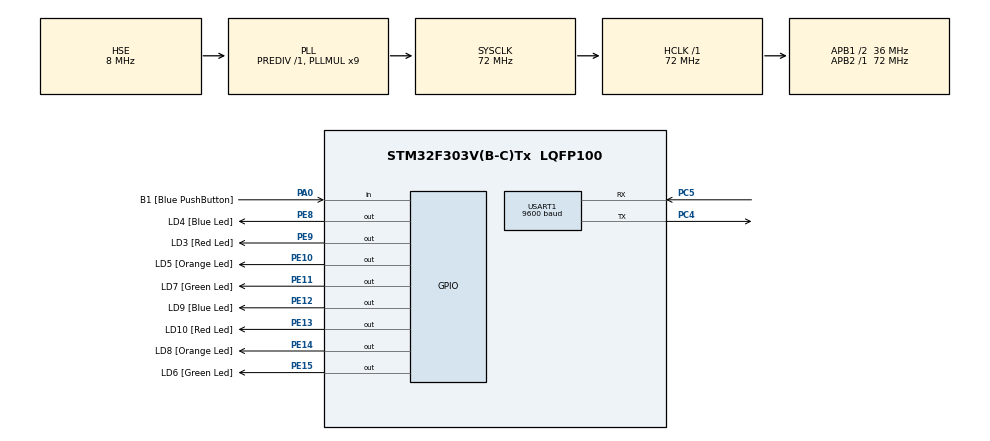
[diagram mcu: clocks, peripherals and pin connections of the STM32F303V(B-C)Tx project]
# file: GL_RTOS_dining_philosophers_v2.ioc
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Dma.Request0=USART1_TX
Dma.USART1_TX.0.Direction=DMA_MEMORY_TO_PERIPH
Dma.USART1_TX.0.Instance=DMA1_Channel4
Dma.USART1_TX.0.MemDataAlignment=DMA_MDATAALIGN_BYTE
Dma.USART1_TX.0.MemInc=DMA_MINC_ENABLE
Dma.USART1_TX.0.Mode=DMA_NORMAL
Dma.USART1_TX.0.PeriphDataAlignment=DMA_PDATAALIGN_BYTE
Dma.USART1_TX.0.PeriphInc=DMA_PINC_DISABLE
Dma.USART1_TX.0.Priority=DMA_PRIORITY_LOW
FREERTOS.BinarySemaphores01=myBinarySem01,Dynamic,NULL;myBinarySem02,Dynamic,NULL;myBinarySem03,Dynamic,NULL;myBinarySem04,Dynamic,NULL;myBinarySem05,Dynamic,NULL
FREERTOS.Tasks01=myTask01,8,64,StartTask01,Default,NULL,Dynamic,NULL,NULL;myTask02,8,64,StartTask02,Default,NULL,Dynamic,NULL,NULL;myTask03,8,64,StartTask03,Default,NULL,Dynamic,NULL,NULL;myTask04,8,64,StartTask04,Default,NULL,Dynamic,NULL,NULL;myTask05,8,64,StartTask05,Default,NULL,Dynamic,NULL,NULL
FREERTOS.configMINIMAL_STACK_SIZE=64
Mcu.Family=STM32F3
Mcu.Name=STM32F303V(B-C)Tx
Mcu.Package=LQFP100
NVIC.DMA1_Channel4_IRQn=true\:5\:0\:false\:false\:true\:true\:false\:true
NVIC.PriorityGroup=NVIC_PRIORITYGROUP_4
NVIC.TIM7_IRQn=true\:0\:0\:false\:false\:true\:false\:false\:true
NVIC.TimeBase=TIM7_IRQn
NVIC.TimeBaseIP=TIM7
NVIC.USART1_IRQn=true\:5\:0\:false\:false\:true\:true\:true\:true
PA0.GPIO_Label=B1 [Blue PushButton]
PA0.Signal=GPIO_Input
PC4.Mode=Asynchronous
PC4.Signal=USART1_TX
PC5.Mode=Asynchronous
PC5.Signal=USART1_RX
PE10.GPIO_Label=LD5 [Orange Led]
PE10.Signal=GPIO_Output
PE11.GPIO_Label=LD7 [Green Led]
PE11.Signal=GPIO_Output
PE12.GPIO_Label=LD9 [Blue Led]
PE12.Signal=GPIO_Output
PE13.GPIO_Label=LD10 [Red Led]
PE13.Signal=GPIO_Output
PE14.GPIO_Label=LD8 [Orange Led]
PE14.Signal=GPIO_Output
PE15.GPIO_Label=LD6 [Green Led]
PE15.Signal=GPIO_Output
PE8.GPIO_Label=LD4 [Blue Led]
PE8.Signal=GPIO_Output
PE9.GPIO_Label=LD3 [Red Led]
PE9.Signal=GPIO_Output
PF0-OSC_IN.Mode=HSE-External-Oscillator
PF0-OSC_IN.Signal=RCC_OSC_IN
PF1-OSC_OUT.Mode=HSE-External-Oscillator
PF1-OSC_OUT.Signal=RCC_OSC_OUT
ProjectManager.HeapSize=0x200
ProjectManager.StackSize=0x400
ProjectManager.TargetToolchain=MDK-ARM V5.27
RCC.AHBFreq_Value=72000000
RCC.APB1CLKDivider=RCC_HCLK_DIV2
RCC.APB1Freq_Value=36000000
RCC.APB1TimFreq_Value=72000000
RCC.APB2Freq_Value=72000000
RCC.APB2TimFreq_Value=72000000
RCC.CortexFreq_Value=72000000
RCC.HCLKFreq_Value=72000000
RCC.HSE_VALUE=8000000
RCC.HSI_VALUE=8000000
RCC.LSE_VALUE=32768
RCC.PLLMUL=RCC_PLL_MUL9
RCC.PLLSourceVirtual=RCC_PLLSOURCE_HSE
RCC.SYSCLKFreq_VALUE=72000000
RCC.SYSCLKSourceVirtual=RCC_SYSCLKSOURCE_PLLCLK
RCC.USBFreq_Value=72000000
USART1.BaudRate=9600
USART1.VirtualMode-Asynchronous=VM_ASYNC
VP_FREERTOS_VS_CMSIS_V2.Mode=CMSIS_V2
VP_SYS_VS_tim7.Mode=TIM7
board=STM32F3DISCOVERY

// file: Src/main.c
/* USER CODE BEGIN Header */
/**
  ******************************************************************************
  * @file           : main.c
  * @brief          : Main program body
  ******************************************************************************
  * @attention
  *
  * <h2><center>&copy; Copyright (c) 2020 STMicroelectronics.
  * All rights reserved.</center></h2>
  *
  * This software component is licensed by ST under BSD 3-Clause license,
  * the "License"; You may not use this file except in compliance with the
  * License. You may obtain a copy of the License at:
  *                        opensource.org/licenses/BSD-3-Clause
  *
  ******************************************************************************
  */
/* USER CODE END Header */

#include "main.h"
#include "cmsis_os.h"

/* USER CODE BEGIN Includes */
#include "semphr.h" // ARM.FreeRTOS::RTOS:Core & added to use raw callback without wrapper
#include "task.h"
/* USER CODE END Includes */

/* USER CODE BEGIN PM */
#define N_PHILOSOPHERS  5 // Total number of philosophers
#define  PHIL1 0
#define  PHIL2 1
#define  PHIL3 2
#define  PHIL4 3
#define  PHIL5 4

#define THINKING 0	//status for time when philosopher is thinking
#define WAITING  1 	//status for time when philosopher is waiting for forks
#define EATING   2  //status for time when philosopher is eating

#define LEFT_Fork_NUMBER(i)  (i + N_PHILOSOPHERS - 1) % N_PHILOSOPHERS
#define RIGHT_Fork_NUMBER(i) (i + 1) % N_PHILOSOPHERS
/* USER CODE END PM */

UART_HandleTypeDef huart1;
DMA_HandleTypeDef hdma_usart1_tx;

/* USER CODE BEGIN PV */
osThreadId_t myTask01Handle;
osThreadId_t myTask02Handle;
osThreadId_t myTask03Handle;
osThreadId_t myTask04Handle;
osThreadId_t myTask05Handle;

SemaphoreHandle_t xSemaphorePhilosofer[N_PHILOSOPHERS] = {NULL}; //semaphores for each of philosofer
SemaphoreHandle_t xSemaphoreTakingFork = NULL; // semaphore for fork taking

volatile uint8_t philosopherStatus[N_PHILOSOPHERS ] = {0}; //for start of the program all philosophers are thinking
/* USER CODE END PV */

void SystemClock_Config(void);
static void MX_GPIO_Init(void);
static void MX_DMA_Init(void);
static void MX_USART1_UART_Init(void);

/* USER CODE BEGIN PFP */
void StartTask01(void *argument);
void StartTask02(void *argument);
void StartTask03(void *argument);
void StartTask04(void *argument);
void StartTask05(void *argument);

void takeFork (uint8_t);
void tryToEat(uint8_t);
void putFork (uint8_t);
/* USER CODE END PFP */

int main(void)
{

  /* MCU Configuration--------------------------------------------------------*/

  /* Reset of all peripherals, Initializes the Flash interface and the Systick. */
  HAL_Init();

  /* Configure the system clock */
  SystemClock_Config();

  /* Initialize all configured peripherals */
  MX_GPIO_Init();
  MX_DMA_Init();
  MX_USART1_UART_Init();

  osKernelInitialize();

  /* Create the semaphores(s) */

  /* USER CODE BEGIN RTOS_SEMAPHORES */
  /* add semaphores, ... */
  for(int i = 0; i < N_PHILOSOPHERS ; i++)
  {
	xSemaphorePhilosofer[i] = xSemaphoreCreateBinary();
	if( xSemaphorePhilosofer[i]  == NULL )
	{    /* There was insufficient FreeRTOS heap available for the semaphore to be created successfully. */
		 while(1);
	}
  }

	// creating semaphor for taking fork
	xSemaphoreTakingFork = xSemaphoreCreateBinary();
	if( xSemaphoreTakingFork  == NULL )
	{    /* There was insufficient FreeRTOS heap available for the semaphore to be created successfully. */
		while(1);
	}
	else
	{
		if( xSemaphoreGive(xSemaphoreTakingFork) != pdTRUE )
		{
			while(1);
		}
	}
  /* USER CODE END RTOS_SEMAPHORES */

  /* Create the thread(s) */

  /* USER CODE BEGIN RTOS_THREADS */
  /* add threads, ... */

  /* definition and creation of myTask01 */
  xTaskCreate(StartTask01, 		/* Function that implements the task. */
				"philosopher1",		/* Text name for the task. */
							64,		/* Stack size in words, not bytes. */
						  NULL,		/* Parameter passed into the task. */
							 0,		/* Priority at which the task is created. */
				 myTask01Handle);
	/* definition and creation of myTask02 */
	xTaskCreate(StartTask02, "philosopher2", 64, NULL, 0, myTask02Handle);
	/* definition and creation of myTask03 */
	xTaskCreate(StartTask03, "philosopher3", 64, NULL, 0, myTask03Handle );
	/* definition and creation of myTask04 */
	xTaskCreate(StartTask04, "philosopher4", 64, NULL, 0, myTask04Handle );
	/* definition and creation of myTask05 */
	xTaskCreate(StartTask05, "philosopher5", 64, NULL, 0, myTask05Handle );

	uint8_t buffTx[] = "Tasks were created!\r\n";
	HAL_UART_Transmit_DMA(&huart1, buffTx, sizeof(buffTx));
	osDelay(100);
  /* USER CODE END RTOS_THREADS */

  /* Start scheduler */
  osKernelStart();

  /* We should never get here as control is now taken by the scheduler */

  /* Infinite loop */
  while (1)
  {

  }
}

void SystemClock_Config(void)
{
  RCC_OscInitTypeDef RCC_OscInitStruct = {0};
  RCC_ClkInitTypeDef RCC_ClkInitStruct = {0};
  RCC_PeriphCLKInitTypeDef PeriphClkInit = {0};

  /** Initializes the CPU, AHB and APB busses clocks
  */
  RCC_OscInitStruct.OscillatorType = RCC_OSCILLATORTYPE_HSE;
  RCC_OscInitStruct.HSEState = RCC_HSE_ON;
  RCC_OscInitStruct.HSEPredivValue = RCC_HSE_PREDIV_DIV1;
  RCC_OscInitStruct.HSIState = RCC_HSI_ON;
  RCC_OscInitStruct.PLL.PLLState = RCC_PLL_ON;
  RCC_OscInitStruct.PLL.PLLSource = RCC_PLLSOURCE_HSE;
  RCC_OscInitStruct.PLL.PLLMUL = RCC_PLL_MUL9;
  if (HAL_RCC_OscConfig(&RCC_OscInitStruct) != HAL_OK)
  {
    Error_Handler();
  }
  /** Initializes the CPU, AHB and APB busses clocks
  */
  RCC_ClkInitStruct.ClockType = RCC_CLOCKTYPE_HCLK|RCC_CLOCKTYPE_SYSCLK
                              |RCC_CLOCKTYPE_PCLK1|RCC_CLOCKTYPE_PCLK2;
  RCC_ClkInitStruct.SYSCLKSource = RCC_SYSCLKSOURCE_PLLCLK;
  RCC_ClkInitStruct.AHBCLKDivider = RCC_SYSCLK_DIV1;
  RCC_ClkInitStruct.APB1CLKDivider = RCC_HCLK_DIV2;
  RCC_ClkInitStruct.APB2CLKDivider = RCC_HCLK_DIV1;

  if (HAL_RCC_ClockConfig(&RCC_ClkInitStruct, FLASH_LATENCY_2) != HAL_OK)
  {
    Error_Handler();
  }
  PeriphClkInit.PeriphClockSelection = RCC_PERIPHCLK_USART1;
  PeriphClkInit.Usart1ClockSelection = RCC_USART1CLKSOURCE_PCLK2;
  if (HAL_RCCEx_PeriphCLKConfig(&PeriphClkInit) != HAL_OK)
  {
    Error_Handler();
  }
}

static void MX_USART1_UART_Init(void)
{

  huart1.Instance = USART1;
  huart1.Init.BaudRate = 9600;
  huart1.Init.WordLength = UART_WORDLENGTH_8B;
  huart1.Init.StopBits = UART_STOPBITS_1;
  huart1.Init.Parity = UART_PARITY_NONE;
  huart1.Init.Mode = UART_MODE_TX_RX;
  huart1.Init.HwFlowCtl = UART_HWCONTROL_NONE;
  huart1.Init.OverSampling = UART_OVERSAMPLING_16;
  huart1.Init.OneBitSampling = UART_ONE_BIT_SAMPLE_DISABLE;
  huart1.AdvancedInit.AdvFeatureInit = UART_ADVFEATURE_NO_INIT;
  if (HAL_UART_Init(&huart1) != HAL_OK)
  {
    Error_Handler();
  }

}

static void MX_DMA_Init(void)
{

  /* DMA controller clock enable */
  __HAL_RCC_DMA1_CLK_ENABLE();

  /* DMA interrupt init */
  /* DMA1_Channel4_IRQn interrupt configuration */
  HAL_NVIC_SetPriority(DMA1_Channel4_IRQn, 5, 0);
  HAL_NVIC_EnableIRQ(DMA1_Channel4_IRQn);

}

static void MX_GPIO_Init(void)
{
  GPIO_InitTypeDef GPIO_InitStruct = {0};

  /* GPIO Ports Clock Enable */
  __HAL_RCC_GPIOF_CLK_ENABLE();
  __HAL_RCC_GPIOA_CLK_ENABLE();
  __HAL_RCC_GPIOC_CLK_ENABLE();
  __HAL_RCC_GPIOE_CLK_ENABLE();

  /*Configure GPIO pin Output Level */
  HAL_GPIO_WritePin(GPIOE, LD4_Pin|LD3_Pin|LD5_Pin|LD7_Pin
                          |LD9_Pin|LD10_Pin|LD8_Pin|LD6_Pin, GPIO_PIN_RESET);

  /*Configure GPIO pin : B1_Pin */
  GPIO_InitStruct.Pin = B1_Pin;
  GPIO_InitStruct.Mode = GPIO_MODE_INPUT;
  GPIO_InitStruct.Pull = GPIO_NOPULL;
  HAL_GPIO_Init(B1_GPIO_Port, &GPIO_InitStruct);

  /*Configure GPIO pins : LD4_Pin LD3_Pin LD5_Pin LD7_Pin
                           LD9_Pin LD10_Pin LD8_Pin LD6_Pin */
  GPIO_InitStruct.Pin = LD4_Pin|LD3_Pin|LD5_Pin|LD7_Pin
                          |LD9_Pin|LD10_Pin|LD8_Pin|LD6_Pin;
  GPIO_InitStruct.Mode = GPIO_MODE_OUTPUT_PP;
  GPIO_InitStruct.Pull = GPIO_NOPULL;
  GPIO_InitStruct.Speed = GPIO_SPEED_FREQ_LOW;
  HAL_GPIO_Init(GPIOE, &GPIO_InitStruct);

}

/* USER CODE BEGIN 4 */
/**
  * @brief  This function is executed when one of the philosophers try to take a fork.
  * @param  philosopher: Number of philosopher who want to take a fork.
  * @retval None
  */
void takeFork (uint8_t philosopher)
{
	if (xSemaphoreTakingFork != NULL)
  {
    if(osSemaphoreAcquire(xSemaphoreTakingFork , 100) == osOK)
    {
		philosopherStatus[philosopher] = WAITING;
		//taking forks
		tryToEat(philosopher);
		//taking semaphor for philosofer how waithing for forks
		osSemaphoreRelease(xSemaphoreTakingFork);
	}
	else
	{
		// taking semaphor for philosopher how whants to eat
		xSemaphoreTake( xSemaphorePhilosofer[philosopher],  portMAX_DELAY);
	}
  }
}

/**
  * @brief  This function is executed when one of the philosophers test forks.
  * @param  philosopher: Number of philosopher who want release the forks.
  * @retval None
  */
void tryToEat(uint8_t philosopher)
{
	if (philosopherStatus[philosopher] == WAITING
			  && philosopherStatus[LEFT_Fork_NUMBER(philosopher)] != EATING
				&& philosopherStatus[RIGHT_Fork_NUMBER(philosopher)] != EATING)
	{
		philosopherStatus[philosopher] = EATING;
		// release semaphor for philosopher how whants to eat
		xSemaphoreGive( xSemaphorePhilosofer[philosopher] );
	}
}

/**
  * @brief  This function is executed when one of the philosophers releasin the forks.
  * @param  philosopher: Number of philosopher who want release the forks.
  * @retval None
  */
void putFork (uint8_t philosopher)
{
	if(osSemaphoreAcquire(xSemaphoreTakingFork , 100) == osOK)
	{
		philosopherStatus[philosopher] = THINKING;
		tryToEat(LEFT_Fork_NUMBER(philosopher));
		tryToEat(RIGHT_Fork_NUMBER(philosopher));
		osSemaphoreRelease(xSemaphoreTakingFork);
	}
}

/* USER CODE END 4 */

void StartTask01(void *argument)
{
  /* USER CODE BEGIN 5 */

  /* Infinite loop */
  for(;;)
  {
	/*  thinking */
	osDelay(100);
	/*  take forks */
	takeFork (PHIL1);

	if(xSemaphoreTake( xSemaphorePhilosofer[PHIL1],  portMAX_DELAY ) == pdTRUE && philosopherStatus[PHIL1] == 2)
	{
		/* eating */
		HAL_GPIO_WritePin(GPIOE, GPIO_PIN_11, GPIO_PIN_SET);
		HAL_GPIO_WritePin(GPIOE, GPIO_PIN_15, GPIO_PIN_SET);
		osDelay(1000);
		HAL_GPIO_WritePin(GPIOE, GPIO_PIN_15, GPIO_PIN_RESET);
		HAL_GPIO_WritePin(GPIOE, GPIO_PIN_11, GPIO_PIN_RESET);
		osDelay(1000);
		/* eating */
		xSemaphoreGive( xSemaphorePhilosofer[PHIL1]);
		putFork(PHIL1);
	}
	else
	{
		osDelay(10);
	}
  }
  /* USER CODE END 5 */
}

void StartTask02(void *argument)
{
  /* USER CODE BEGIN StartTask02 */
  /* Infinite loop */
  for(;;)
  {
	/*  thinking */
	osDelay(100);
	/*  take forks */
	takeFork (PHIL2);

	if(xSemaphoreTake( xSemaphorePhilosofer[PHIL2],  portMAX_DELAY ) == pdTRUE && philosopherStatus[PHIL2] == 2)
	{
		/* eating */
		HAL_GPIO_WritePin(GPIOE, GPIO_PIN_11, GPIO_PIN_SET);
		HAL_GPIO_WritePin(GPIOE, GPIO_PIN_12, GPIO_PIN_SET);
		osDelay(1000);
		HAL_GPIO_WritePin(GPIOE, GPIO_PIN_12, GPIO_PIN_RESET);
		HAL_GPIO_WritePin(GPIOE, GPIO_PIN_11, GPIO_PIN_RESET);
		osDelay(1000);
		/* eating */
		xSemaphoreGive(xSemaphorePhilosofer[PHIL2]);
		putFork(PHIL2);
	}
	else
	{
		osDelay(10);
	}
  }
  /* USER CODE END StartTask02 */
}

void StartTask03(void *argument)
{
  /* USER CODE BEGIN StartTask03 */
  /* Infinite loop */
  for(;;)
  {
	/*  thinking */
	osDelay(70);
	/*  take forks */
	takeFork (PHIL3);

	if(xSemaphoreTake( xSemaphorePhilosofer[PHIL3],  portMAX_DELAY ) == pdTRUE && philosopherStatus[PHIL3] == 2)
	{
		/* eating */
		HAL_GPIO_WritePin(GPIOE, GPIO_PIN_12, GPIO_PIN_SET);
		HAL_GPIO_WritePin(GPIOE, GPIO_PIN_13, GPIO_PIN_SET);
		osDelay(1000);
		HAL_GPIO_WritePin(GPIOE, GPIO_PIN_13, GPIO_PIN_RESET);
		HAL_GPIO_WritePin(GPIOE, GPIO_PIN_12, GPIO_PIN_RESET);
		osDelay(1000);
		/* eating */
		xSemaphoreGive(xSemaphorePhilosofer[PHIL3]);
		putFork(PHIL3);
	}
	else
	{
		osDelay(10);
	}
  }
  /* USER CODE END StartTask03 */
}

void StartTask04(void *argument)
{
  /* USER CODE BEGIN StartTask04 */
  /* Infinite loop */
  for(;;)
  {
	/*  thinking */
	osDelay(100);
	/*  take forks */
	takeFork (PHIL4);

	if(xSemaphoreTake( xSemaphorePhilosofer[PHIL4],  portMAX_DELAY ) == pdTRUE && philosopherStatus[PHIL4] == 2)
	{
		/* eating */
		HAL_GPIO_WritePin(GPIOE, GPIO_PIN_13, GPIO_PIN_SET);
		HAL_GPIO_WritePin(GPIOE, GPIO_PIN_14, GPIO_PIN_SET);
		osDelay(1000);
		HAL_GPIO_WritePin(GPIOE, GPIO_PIN_14, GPIO_PIN_RESET);
		HAL_GPIO_WritePin(GPIOE, GPIO_PIN_13, GPIO_PIN_RESET);
		osDelay(1000);
		/* eating */
		xSemaphoreGive(xSemaphorePhilosofer[PHIL4]);
		putFork(PHIL4);
	}
	else
	{
		osDelay(10);
	}
  }
  /* USER CODE END StartTask04 */
}

void StartTask05(void *argument)
{
  /* USER CODE BEGIN StartTask05 */
  /* Infinite loop */
  for(;;)
  {
	/*  thinking */
	osDelay(100);
	/*  take forks */
	takeFork (PHIL5);

	if(xSemaphoreTake( xSemaphorePhilosofer[PHIL5],  portMAX_DELAY ) == pdTRUE && philosopherStatus[PHIL5] == 2)
	{
	  /* eating */
		HAL_GPIO_WritePin(GPIOE, GPIO_PIN_14, GPIO_PIN_SET);
		HAL_GPIO_WritePin(GPIOE, GPIO_PIN_15, GPIO_PIN_SET);
		osDelay(1000);
		HAL_GPIO_WritePin(GPIOE, GPIO_PIN_15, GPIO_PIN_RESET);
		HAL_GPIO_WritePin(GPIOE, GPIO_PIN_14, GPIO_PIN_RESET);
		osDelay(1000);
		/* eating */
		xSemaphoreGive(xSemaphorePhilosofer[PHIL5]);
		putFork(PHIL5);
	}
	else
	{
		osDelay(10);
	}
  }
  /* USER CODE END StartTask05 */
}

void HAL_TIM_PeriodElapsedCallback(TIM_HandleTypeDef *htim)
{
  if (htim->Instance == TIM7) {
    HAL_IncTick();
  }
}

void Error_Handler(void)
{
}

/************************ (C) COPYRIGHT STMicroelectronics *****END OF FILE****/
